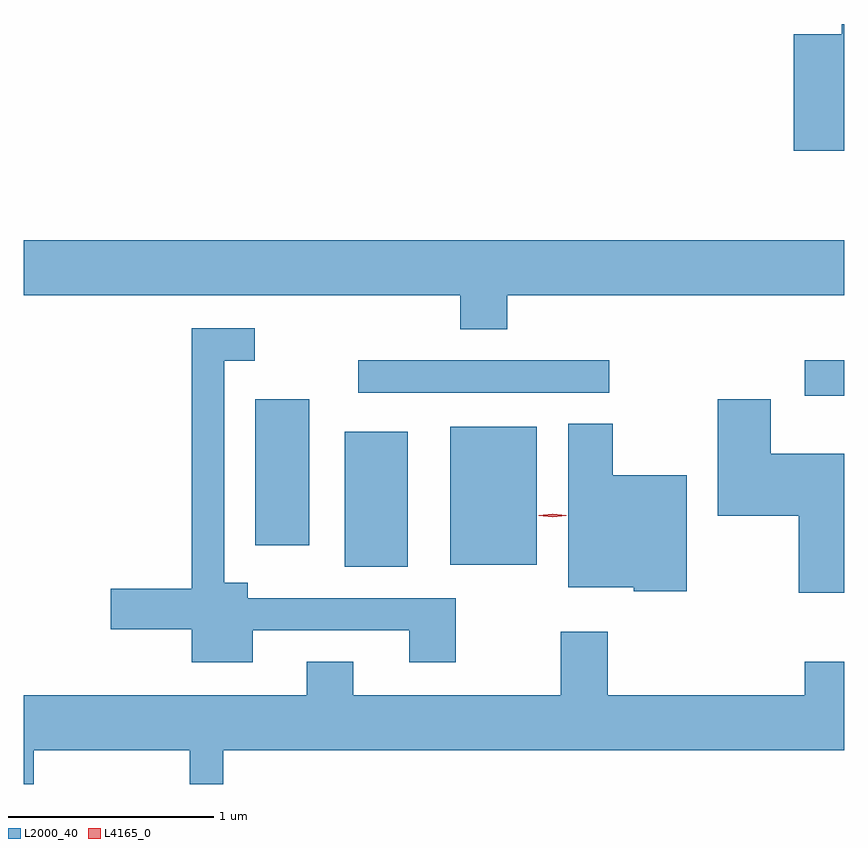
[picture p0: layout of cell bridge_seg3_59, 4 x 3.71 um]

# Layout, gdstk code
import gdstk
lib = gdstk.Library(unit=1e-6, precision=1e-09)
def R(c, l, rs):  # rectangles x0, y0, x1, y1
    for r in rs: c.add(gdstk.rectangle(r[:2], r[2:], *l))
def P(c, l, *ps):  # polygons
    for p in ps: c.add(gdstk.Polygon(p, *l))
L2000_40 = (2000, 40)
L4165_0 = (4165, 0)

bridge_seg3_59 = lib.new_cell('bridge_seg3_59')
R(bridge_seg3_59, L2000_40, [(1208.006,1160.211,1208.314,1160.869), (1208.521,1160.221,1208.944,1160.894), (1207.571,1160.316,1207.834,1161.029), (1210.251,1161.046,1210.442,1161.219), (1208.073,1161.061,1209.298,1161.219)])
P(bridge_seg3_59, L2000_40, [(1210.442,1162.859),(1210.431,1162.859),(1210.431,1162.809),(1210.196,1162.809),(1210.196,1162.241),(1210.442,1162.241)],
  [(1208.799,1161.536),(1210.442,1161.536),(1210.442,1161.804),(1206.442,1161.804),(1206.442,1161.536),(1208.571,1161.536),(1208.571,1161.371),(1208.799,1161.371)],
  [(1207.559,1159.901),(1208.321,1159.901),(1208.321,1159.746),(1208.549,1159.746),(1208.549,1160.059),(1207.534,1160.059),(1207.534,1160.134),(1207.419,1160.134),(1207.419,1161.216),(1207.568,1161.216),(1207.568,1161.374),(1207.261,1161.374),(1207.261,1160.104),(1206.866,1160.104),(1206.866,1159.906),(1207.261,1159.906),(1207.261,1159.746),(1207.559,1159.746)],
  [(1210.442,1160.764),(1210.084,1160.764),(1210.084,1161.029),(1209.826,1161.029),(1209.826,1160.461),(1210.221,1160.461),(1210.221,1160.086),(1210.442,1160.086)],
  [(1209.674,1160.659),(1209.314,1160.659),(1209.314,1160.909),(1209.096,1160.909),(1209.096,1160.111),(1209.416,1160.111),(1209.416,1160.091),(1209.674,1160.091)],
  [(1206.489,1159.316),(1207.251,1159.316),(1207.251,1159.152),(1207.414,1159.152),(1207.414,1159.316),(1210.442,1159.316),(1210.442,1159.749),(1210.251,1159.749),(1210.251,1159.584),(1209.289,1159.584),(1209.289,1159.894),(1209.061,1159.894),(1209.061,1159.584),(1208.049,1159.584),(1208.049,1159.749),(1207.821,1159.749),(1207.821,1159.584),(1206.442,1159.584),(1206.442,1159.152),(1206.489,1159.152)])
P(bridge_seg3_59, L4165_0, [(1209.02,1160.452),(1208.954,1160.461),(1208.954,1160.462),(1208.954,1160.462),(1209.02,1160.471),(1209.086,1160.462),(1209.086,1160.461),(1209.086,1160.46)])

lib.write_gds('bridge_seg3_59.gds')
